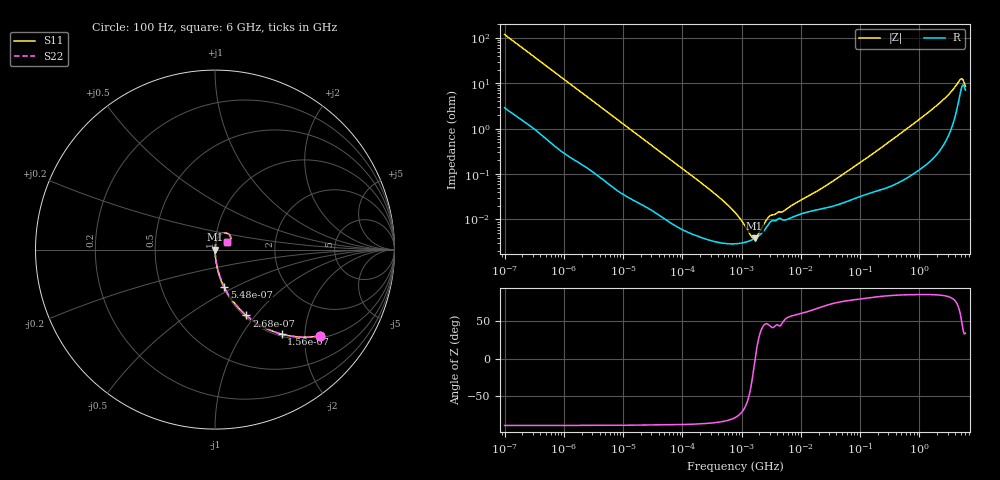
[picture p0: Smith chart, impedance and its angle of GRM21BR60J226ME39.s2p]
!Murata Part Number: GRM21BR60J226ME39
!These Parameters are Measured in Series Mode Connection
!Data Generated on Mar 30, 2021
!  o--ll--o
!Port1  Port2
!  o------o
!Operation Temp=25[degC], DC Bias Voltage=0[V]
!Freq. Start=100[Hz] Stop=6[GHz] 401[Steps]
# Hz S RI R 50
!Freq.(Hz) S11(Real) S11(Imag) S21(Real) S21(Imag) S12(Real) S12(Imag) S22(Real) S22(Imag)
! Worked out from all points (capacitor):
!   401 points, 100 Hz to 6 GHz, reference 50 ohm
!   read as one part in series: C = 13.4 uF near 109 Hz
!   lowest |Z| = 3.83 mohm at 1.658 MHz (marker M1)
!   series resonance near 1.695 MHz, so ESL is about 660 pH
!   S11 on the Smith chart (normalised r, x): 100 Hz: 1.06, -2.37; 156 Hz: 1.04, -1.52; 268 Hz: 1.02, -0.90; 548 Hz: 1.01, -0.44; 6 GHz: 1.14, +0.10
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100  0.5826 -0.4811  0.4174 0.4811  0.4174 0.4811  0.5826 -0.4811
156  0.3709 -0.4708  0.6291 0.4708  0.6291 0.4708  0.3709 -0.4708
268  0.1745 -0.3669  0.8255 0.3669  0.8255 0.3669  0.1745 -0.3669
548  0.0518 -0.2097  0.9482 0.2097  0.9482 0.2097  0.0518 -0.2097
981  0.0182 -0.1225  0.9818 0.1225  0.9818 0.1225  0.0182 -0.1225
2008  0.0054 -0.0613  0.9946 0.0613  0.9946 0.0613  0.0054 -0.0613
40335  0.000135 -0.00325  0.9999 0.00325  0.9999 0.00325  0.000135 -0.00325
330837  3.34e-05 -0.000396  1 0.000396  1 0.000396  3.34e-05 -0.000396
774597  2.91e-05 -0.00014  1 0.00014  1 0.00014  2.91e-05 -0.00014
1013323  3.04e-05 -8.7e-05  1 8.7e-05  1 8.7e-05  3.04e-05 -8.7e-05
1658239  3.81e-05 -3.5e-06  1 3.5e-06  1 3.5e-06  3.81e-05 -3.5e-06
2594782  6.53e-05 6.92e-05  0.9999 -6.92e-05  0.9999 -6.92e-05  6.53e-05 6.92e-05
3245845  9.35e-05 8.35e-05  0.9999 -8.35e-05  0.9999 -8.35e-05  9.35e-05 8.35e-05
5079039  9.73e-05 0.000116  0.9999 -0.000116  0.9999 -0.000116  9.73e-05 0.000116
1.555665e7  0.000155 0.00033  0.9998 -0.00033  0.9998 -0.00033  0.000155 0.00033
4.165952e7  0.000211 0.000791  0.9998 -0.000791  0.9998 -0.000791  0.000211 0.000791
3.124326e8  0.00055 0.00513  0.9995 -0.00513  0.9995 -0.00513  0.00055 0.00513
2.048624e9  0.00398 0.0335  0.996 -0.0335  0.996 -0.0335  0.00398 0.0335
3.205649e9  0.0109 0.057  0.9891 -0.057  0.9891 -0.057  0.0109 0.057
4.796499e9  0.0581 0.0932  0.9419 -0.0932  0.9419 -0.0932  0.0581 0.0932
5.245841e9  0.0848 0.0786  0.9152 -0.0786  0.9152 -0.0786  0.0848 0.0786
6e9  0.068 0.0419  0.932 -0.0419  0.932 -0.0419  0.068 0.0419
